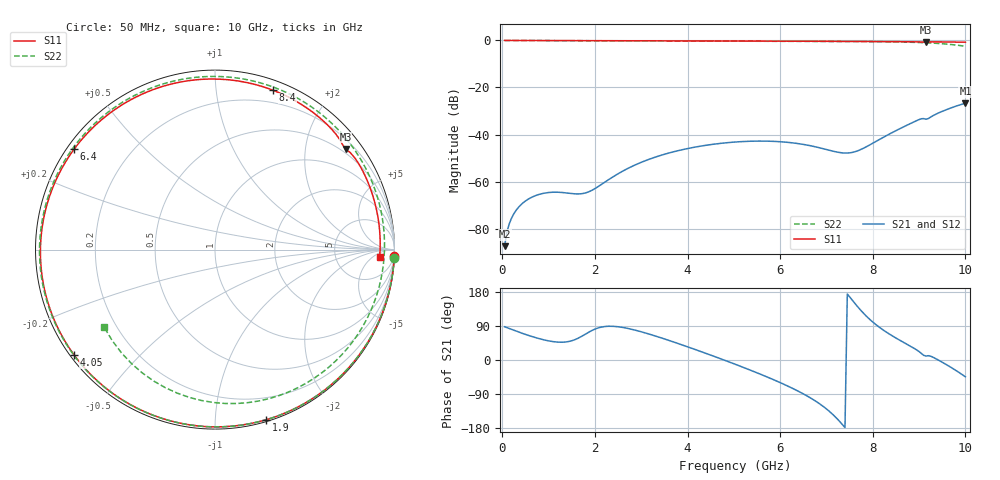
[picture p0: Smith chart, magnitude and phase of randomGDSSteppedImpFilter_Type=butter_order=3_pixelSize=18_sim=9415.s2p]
! freq	dB(S11)	phase(S11)	dB(S12)	phase(S12)
!  dB(S21)	phase(S21)	dB(S22)	phase(S22)
!S-par simulation data
#  GHz  S  DB  R 50
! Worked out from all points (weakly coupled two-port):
!   200 points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, 50 MHz to 10 GHz, reference 50 ohm
!   highest |S21| = -26.70 dB at 10 GHz (marker M1); lowest = -87.5 dB at 50 MHz (marker M2)
!   lowest |S11| = -0.7 dB at 9.15 GHz (marker M3), VSWR 23.42, Z = 20.2 + j144 ohm
!   |S11| at or under -10 dB: nowhere
!   |S22| runs from -2.5 to 0.0 dB; largest |S21 - S12| = 0
!   S11 on the Smith chart (normalised r, x): 50 MHz: 0, -56; 1.9 GHz: 0.01, -1.35; 4.05 GHz: 0.01, -0.33; 6.4 GHz: 0.02, +0.32; 8.4 GHz: 0.09, +1.42; 10 GHz: 18, -10
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0.05  -0.00 -2.0  -87.49 87.7  -87.49 87.7  -0.00 -2.7
0.1  -0.01 -4.1  -81.49 85.4  -81.49 85.4  -0.01 -5.3
0.35  -0.02 -14.1  -70.96 73.9  -70.96 73.9  -0.03 -18.5
0.65  -0.03 -26.0  -66.55 61.6  -66.55 61.6  -0.04 -34.1
1.2  -0.06 -47.4  -64.55 47.2  -64.55 47.2  -0.07 -61.8
1.75  -0.08 -67.8  -65.07 65.0  -65.07 65.0  -0.10 -87.9
1.9  -0.09 -73.2  -64.08 75.6  -64.08 75.6  -0.11 -94.7
2.55  -0.11 -95.7  -56.13 86.9  -56.13 86.9  -0.14 -122.9
3.4  -0.15 -123.3  -49.00 59.7  -49.00 59.7  -0.17 -157.4
4.05  -0.17 -143.2  -45.78 32.7  -45.78 32.7  -0.20 177.3
5.05  -0.23 -173.3  -43.17 -12.2  -43.17 -12.2  -0.25 138.0
5.75  -0.27 165.3  -42.84 -46.4  -42.84 -46.4  -0.29 109.3
6.4  -0.32 144.6  -43.90 -82.9  -43.90 -82.9  -0.32 81.3
6.7  -0.34 134.6  -44.96 -103.4  -44.96 -103.4  -0.34 67.8
7.5  -0.41 106.0  -47.81 166.6  -47.81 166.6  -0.40 30.2
7.95  -0.45 88.6  -44.27 105.5  -44.27 105.5  -0.47 7.7
8.35  -0.49 72.2  -39.90 69.1  -39.90 69.1  -0.56 -13.5
8.4  -0.49 70.0  -39.37 65.3  -39.37 65.3  -0.58 -16.2
8.8  -0.55 52.6  -35.47 37.2  -35.47 37.2  -0.74 -39.5
9.15  -0.74 37.6  -33.51 10.5  -33.51 10.5  -0.98 -62.7
9.6  -0.65 16.4  -29.36 -12.9  -29.36 -12.9  -1.56 -99.8
10  -0.74 -2.6  -26.70 -44.2  -26.70 -44.2  -2.46 -145.0
